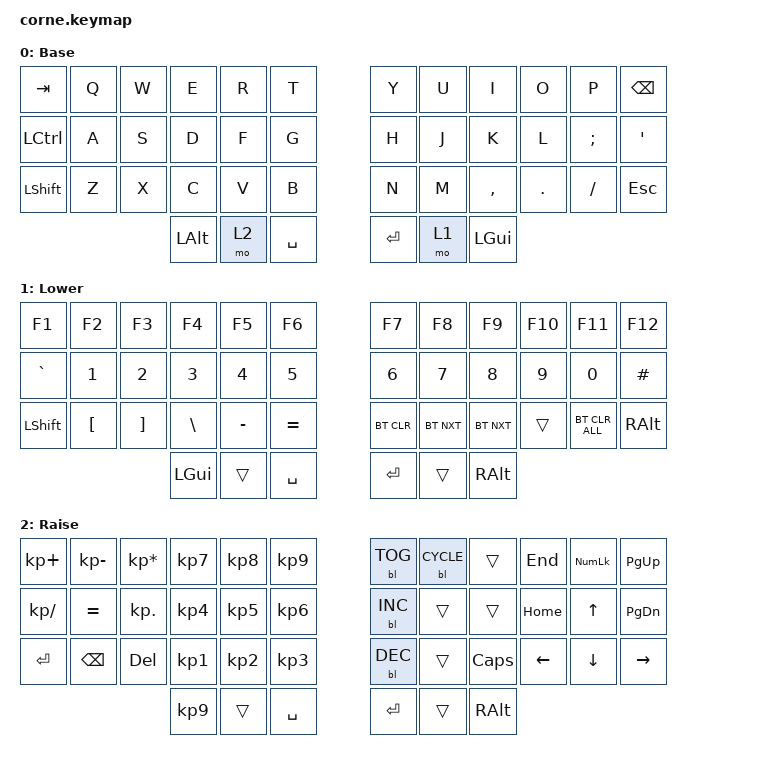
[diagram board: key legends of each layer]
/*
 * Copyright (c) 2020 The ZMK Contributors
 *
 * SPDX-License-Identifier: MIT
 */

#include <behaviors.dtsi>
#include <dt-bindings/zmk/backlight.h>
#include <dt-bindings/zmk/bt.h>
#include <dt-bindings/zmk/keys.h>

/ {
    keymap {
        compatible = "zmk,keymap";

        default_layer {
            // -----------------------------------------------------------------------------------------
            // |  TAB |  Q  |  W  |  E  |  R  |  T  |   |  Y  |  U   |  I  |  O  |  P  | BKSP |
            // | CTRL |  A  |  S  |  D  |  F  |  G  |   |  H  |  J   |  K  |  L  |  ;  |  '   |
            // | SHFT |  Z  |  X  |  C  |  V  |  B  |   |  N  |  M   |  ,  |  .  |  /  | ESC  |
            //                    | GUI | LWR | SPC |   | ENT | RSE  | ALT |

            display-name = "Base";
            bindings = <
&kp TAB    &kp Q  &kp W  &kp E         &kp R  &kp T        &kp Y    &kp U  &kp I         &kp O    &kp P     &kp BSPC
&kp LCTRL  &kp A  &kp S  &kp D         &kp F  &kp G        &kp H    &kp J  &kp K         &kp L    &kp SEMI  &kp SQT
&kp LSHFT  &kp Z  &kp X  &kp C         &kp V  &kp B        &kp N    &kp M  &kp COMMA     &kp DOT  &kp FSLH  &kp ESC
                         &kp LEFT_ALT  &mo 2  &kp SPACE    &kp RET  &mo 1  &kp LEFT_GUI
            >;
        };

        lower_layer {
            // -----------------------------------------------------------------------------------------
            // |  TAB |  1  |  2  |  3  |  4  |  5  |   |  6  |  7  |  8  |  9  |  0  | BKSP |
            // | BTCLR| BT1 | BT2 | BT3 | BT4 | BT5 |   | LFT | DWN |  UP | RGT |     |      |
            // | SHFT |     |     |     |     |     |   |     |     |     |     |     |      |
            //                    | GUI |     | SPC |   | ENT |     | ALT |

            display-name = "Lower";
            bindings = <
&kp F1     &kp F2    &kp F3    &kp F4    &kp F5     &kp F6       &kp F7        &kp F8      &kp F9      &kp F10  &kp F11         &kp F12
&kp GRAVE  &kp N1    &kp N2    &kp N3    &kp N4     &kp N5       &kp NUMBER_6  &kp N7      &kp N8      &kp N9   &kp N0          &kp HASH
&kp LSHFT  &kp LBKT  &kp RBKT  &kp BSLH  &kp MINUS  &kp EQUAL    &bt BT_CLR    &bt BT_NXT  &bt BT_NXT  &trans   &bt BT_CLR_ALL  &kp RIGHT_ALT
                               &kp LGUI  &trans     &kp SPACE    &kp RET       &trans      &kp RALT
            >;
        };

        raise_layer {
            // -----------------------------------------------------------------------------------------
            // |  TAB |  !  |  @  |  #  |  $  |  %  |   |  ^  |  &  |  *  |  (  |  )  | BKSP |
            // | CTRL |     |     |     |     |     |   |  -  |  =  |  [  |  ]  |  \  |  `   |
            // | SHFT |     |     |     |     |     |   |  _  |  +  |  {  |  }  | "|" |  ~   |
            //                    | GUI |     | SPC |   | ENT |     | ALT |

            display-name = "Raise";
            bindings = <
&kp KP_PLUS    &kp KP_MINUS   &kp KP_MULTIPLY  &kp KP_N7        &kp KP_N8  &kp KP_N9          &bl BL_TOG  &bl BL_CYCLE  &trans    &kp END         &kp KP_NUM    &kp PAGE_UP
&kp KP_DIVIDE  &kp EQUAL      &kp KP_DOT       &kp KP_N4        &kp KP_N5  &kp KP_NUMBER_6    &bl BL_INC  &trans        &trans    &kp HOME        &kp UP_ARROW  &kp PAGE_DOWN
&kp ENTER      &kp BACKSPACE  &kp DEL          &kp KP_NUMBER_1  &kp KP_N2  &kp KP_N3          &bl BL_DEC  &trans        &kp CAPS  &kp LEFT_ARROW  &kp DOWN      &kp RIGHT
                                               &kp KP_NUMBER_9  &trans     &kp SPACE          &kp RET     &trans        &kp RALT
            >;
        };

        extra_1 { status = "reserved"; };

        extra_2 { status = "reserved"; };

        extra_3 { status = "reserved"; };
    };
};
